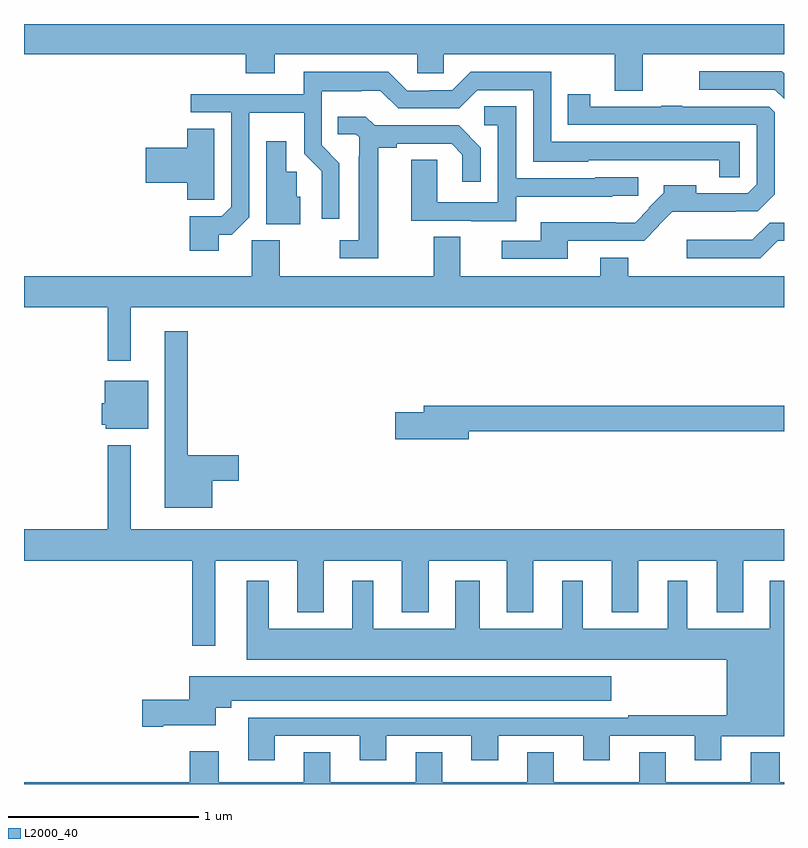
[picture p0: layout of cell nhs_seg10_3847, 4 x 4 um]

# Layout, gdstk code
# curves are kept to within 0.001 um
import gdstk
lib = gdstk.Library(unit=1e-6, precision=1e-09)
def P(c, l, *ps):  # polygons
    for p in ps: c.add(gdstk.Polygon(p, *l))
L2000_40 = (2000, 40)

nhs_seg10_3847 = lib.new_cell('nhs_seg10_3847')
P(nhs_seg10_3847, L2000_40, [(326.257,1276.34),(327,1276.34),(327,1276.5),(323,1276.5),(323,1276.34),(324.167,1276.34),(324.167,1276.241),(324.319,1276.241),(324.319,1276.34),(325.071,1276.34),(325.071,1276.242),(325.209,1276.242),(325.209,1276.34),(326.11,1276.34),(326.11,1276.15),(326.257,1276.15)],
  [(327,1276.24),(326.989,1276.251),(326.553,1276.251),(326.553,1276.155),(326.952,1276.155),(327,1276.107)],
  [(324.025,1275.391),(324.093,1275.391),(324.186,1275.483),(324.186,1276.034),(324.474,1276.034),(324.474,1275.818),(324.566,1275.726),(324.566,1275.474),(324.66,1275.474),(324.66,1275.768),(324.567,1275.861),(324.567,1276.145),(324.776,1276.145),(324.776,1276.149),(324.876,1276.149),(324.969,1276.056),(325.29,1276.056),(325.386,1276.152),(325.68,1276.152),(325.68,1275.776),(325.971,1275.776),(325.971,1275.783),(326.658,1275.782),(326.658,1275.694),(326.766,1275.694),(326.766,1275.879),(325.776,1275.879),(325.776,1276.248),(325.35,1276.248),(325.254,1276.152),(325.134,1276.152),(325.134,1276.149),(325.017,1276.149),(324.917,1276.249),(324.473,1276.249),(324.473,1276.131),(323.877,1276.131),(323.877,1276.035),(324.09,1276.035),(324.09,1275.537),(324.042,1275.489),(323.873,1275.489),(323.873,1275.306),(324.025,1275.306)],
  [(325.861,1275.36),(326.265,1275.36),(326.341,1275.437),(326.339,1275.439),(326.413,1275.513),(326.747,1275.512),(326.747,1275.514),(326.863,1275.514),(326.952,1275.603),(326.952,1276.035),(326.922,1276.065),(326.465,1276.065),(326.465,1276.07),(326.353,1276.07),(326.353,1276.065),(325.98,1276.065),(325.98,1276.129),(325.861,1276.129),(325.861,1275.969),(326.856,1275.969),(326.856,1275.657),(326.808,1275.609),(326.539,1275.609),(326.539,1275.652),(326.368,1275.652),(326.368,1275.613),(326.289,1275.534),(326.292,1275.531),(326.216,1275.455),(326.114,1275.455),(326.114,1275.457),(325.721,1275.457),(325.721,1275.36),(325.515,1275.36),(325.515,1275.264),(325.861,1275.264)],
  [(325.591,1275.59),(326.097,1275.59),(326.097,1275.597),(326.232,1275.597),(326.232,1275.693),(326.007,1275.693),(326.007,1275.687),(325.59,1275.687),(325.59,1276.067),(325.422,1276.067),(325.422,1275.966),(325.494,1275.966),(325.494,1275.561),(325.176,1275.561),(325.176,1275.785),(325.037,1275.785),(325.037,1275.465),(325.355,1275.465),(325.355,1275.461),(325.591,1275.461)],
  [(324.865,1275.85),(324.961,1275.85),(324.961,1275.87),(325.25,1275.87),(325.307,1275.813),(325.307,1275.669),(325.404,1275.669),(325.404,1275.85),(325.288,1275.966),(324.846,1275.966),(324.798,1276.013),(324.652,1276.013),(324.652,1275.921),(324.747,1275.921),(324.765,1275.903),(324.765,1275.803),(324.761,1275.803),(324.761,1275.363),(324.663,1275.363),(324.663,1275.267),(324.865,1275.267)],
  [(324,1275.682),(324.001,1275.682),(324.001,1275.95),(323.858,1275.95),(323.858,1275.848),(323.64,1275.848),(323.64,1275.665),(323.858,1275.665),(323.858,1275.574),(324,1275.574)],
  [(324.454,1275.591),(324.435,1275.591),(324.435,1275.723),(324.379,1275.723),(324.379,1275.883),(324.275,1275.883),(324.275,1275.446),(324.454,1275.446)],
  [(326.967,1275.36),(327,1275.36),(327,1275.455),(326.924,1275.455),(326.833,1275.364),(326.487,1275.364),(326.487,1275.267),(326.874,1275.267)],
  [(323.563,1275.008),(327,1275.008),(327,1275.172),(326.181,1275.172),(326.181,1275.271),(326.033,1275.271),(326.033,1275.172),(325.297,1275.172),(325.297,1275.38),(325.157,1275.38),(325.157,1275.172),(324.345,1275.172),(324.345,1275.361),(324.198,1275.361),(324.198,1275.172),(323,1275.172),(323,1275.008),(323.442,1275.008),(323.442,1274.727),(323.563,1274.727)],
  [(323.992,1274.096),(324.13,1274.096),(324.13,1274.231),(323.863,1274.231),(323.863,1274.884),(323.741,1274.884),(323.741,1273.955),(323.992,1273.955)],
  [(323.653,1274.623),(323.426,1274.623),(323.426,1274.505),(323.408,1274.505),(323.408,1274.391),(323.43,1274.391),(323.43,1274.369),(323.653,1274.369)],
  [(325.342,1274.356),(327,1274.356),(327,1274.492),(325.103,1274.492),(325.103,1274.456),(324.954,1274.456),(324.954,1274.314),(325.342,1274.314)],
  [(324.007,1273.676),(324.437,1273.676),(324.437,1273.403),(324.577,1273.403),(324.577,1273.676),(324.989,1273.676),(324.989,1273.403),(325.129,1273.403),(325.129,1273.676),(325.541,1273.676),(325.541,1273.403),(325.681,1273.403),(325.681,1273.676),(326.093,1273.676),(326.093,1273.403),(326.233,1273.403),(326.233,1273.676),(326.645,1273.676),(326.645,1273.403),(326.785,1273.403),(326.785,1273.676),(327,1273.676),(327,1273.84),(323.563,1273.84),(323.563,1274.284),(323.442,1274.284),(323.442,1273.84),(323,1273.84),(323,1273.676),(323.886,1273.676),(323.886,1273.227),(324.007,1273.227)],
  [(324.319,1272.753),(324.767,1272.753),(324.767,1272.624),(324.907,1272.624),(324.907,1272.753),(325.355,1272.753),(325.355,1272.624),(325.495,1272.624),(325.495,1272.753),(325.943,1272.753),(325.943,1272.624),(326.083,1272.624),(326.083,1272.753),(326.531,1272.753),(326.531,1272.624),(326.671,1272.624),(326.671,1272.752),(327,1272.752),(327,1273.57),(326.924,1273.57),(326.924,1273.318),(326.491,1273.318),(326.491,1273.57),(326.387,1273.57),(326.387,1273.318),(325.942,1273.318),(325.942,1273.57),(325.832,1273.57),(325.832,1273.318),(325.399,1273.318),(325.399,1273.57),(325.271,1273.57),(325.271,1273.318),(324.838,1273.318),(324.838,1273.57),(324.728,1273.57),(324.728,1273.318),(324.289,1273.318),(324.289,1273.57),(324.173,1273.57),(324.173,1273.154),(326.699,1273.154),(326.699,1272.862),(326.179,1272.862),(326.179,1272.849),(324.179,1272.849),(324.179,1272.624),(324.319,1272.624)],
  [(323.734,1272.809),(324.01,1272.809),(324.01,1272.902),(324.091,1272.902),(324.091,1272.938),(326.092,1272.938),(326.092,1273.066),(323.87,1273.066),(323.87,1272.944),(323.622,1272.944),(323.622,1272.802),(323.734,1272.802)],
  [(327,1272.508),(326.978,1272.508),(326.978,1272.667),(326.825,1272.667),(326.825,1272.508),(326.377,1272.508),(326.377,1272.668),(326.237,1272.668),(326.237,1272.508),(325.789,1272.508),(325.789,1272.668),(325.649,1272.668),(325.649,1272.508),(325.201,1272.508),(325.201,1272.668),(325.061,1272.668),(325.061,1272.508),(324.613,1272.508),(324.613,1272.668),(324.473,1272.668),(324.473,1272.508),(324.025,1272.508),(324.025,1272.673),(323.873,1272.673),(323.873,1272.508),(323,1272.508),(323,1272.5),(327,1272.5)])

lib.write_gds('nhs_seg10_3847.gds')
